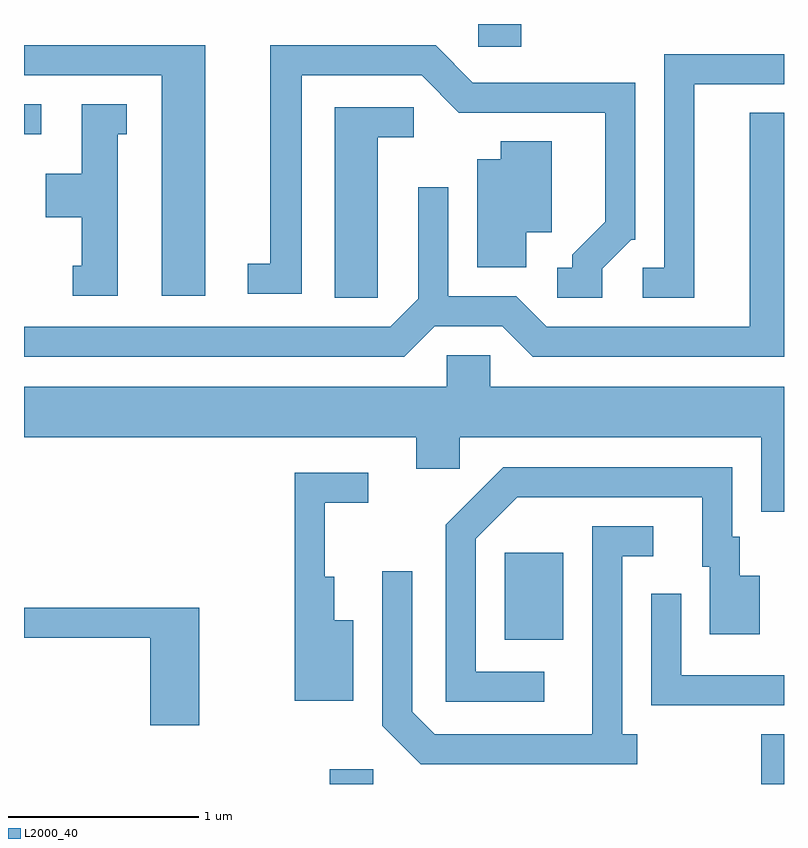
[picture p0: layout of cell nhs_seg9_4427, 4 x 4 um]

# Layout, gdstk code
import gdstk
lib = gdstk.Library(unit=1e-6, precision=1e-09)
def R(c, l, rs):  # rectangles x0, y0, x1, y1
    for r in rs: c.add(gdstk.rectangle(r[:2], r[2:], *l))
def P(c, l, *ps):  # polygons
    for p in ps: c.add(gdstk.Polygon(p, *l))
L2000_40 = (2000, 40)

nhs_seg9_4427 = lib.new_cell('nhs_seg9_4427')
R(nhs_seg9_4427, L2000_40, [(317.221,1994.432,317.449,1994.509), (319.491,1994.432,319.611,1994.694), (318.141,1995.191,318.449,1995.649), (315.611,1997.851,315.703,1998.009), (318.001,1998.311,318.229,1998.432)])
P(nhs_seg9_4427, L2000_40, [(318.654,1997.144),(318.807,1997.296),(318.829,1997.296),(318.829,1998.124),(317.972,1998.124),(317.777,1998.319),(316.906,1998.319),(316.906,1997.169),(316.788,1997.169),(316.788,1997.011),(317.074,1997.011),(317.074,1998.161),(317.704,1998.161),(317.899,1997.966),(318.671,1997.966),(318.671,1997.392),(318.496,1997.217),(318.496,1997.149),(318.418,1997.149),(318.418,1996.991),(318.654,1996.991)],
  [(316.564,1998.319),(315.611,1998.319),(315.611,1998.161),(316.336,1998.161),(316.336,1997.001),(316.564,1997.001)],
  [(319.139,1998.116),(319.611,1998.116),(319.611,1998.274),(318.981,1998.274),(318.981,1997.149),(318.868,1997.149),(318.868,1996.991),(319.139,1996.991)],
  [(316.104,1997.851),(316.153,1997.851),(316.153,1998.009),(315.916,1998.009),(315.916,1997.644),(315.726,1997.644),(315.726,1997.416),(315.916,1997.416),(315.916,1997.159),(315.868,1997.159),(315.868,1997.001),(316.104,1997.001)],
  [(317.474,1997.836),(317.663,1997.836),(317.663,1997.994),(317.246,1997.994),(317.246,1996.991),(317.474,1996.991)],
  [(317.772,1996.841),(318.129,1996.841),(318.289,1996.681),(319.611,1996.681),(319.611,1997.964),(319.431,1997.964),(319.431,1996.839),(318.362,1996.839),(318.202,1996.999),(317.844,1996.999),(317.844,1997.573),(317.686,1997.573),(317.686,1996.987),(317.539,1996.839),(315.611,1996.839),(315.611,1996.681),(317.612,1996.681)],
  [(318.254,1997.336),(318.389,1997.336),(318.389,1997.814),(318.121,1997.814),(318.121,1997.719),(317.996,1997.719),(317.996,1997.151),(318.254,1997.151)],
  [(319.611,1996.524),(318.064,1996.524),(318.064,1996.689),(317.836,1996.689),(317.836,1996.524),(315.611,1996.524),(315.611,1996.256),(317.676,1996.256),(317.676,1996.091),(317.904,1996.091),(317.904,1996.256),(319.491,1996.256),(319.491,1995.866),(319.611,1995.866)],
  [(318.348,1995.024),(317.989,1995.024),(317.989,1995.724),(318.207,1995.941),(319.181,1995.941),(319.181,1995.576),(319.221,1995.576),(319.221,1995.221),(319.484,1995.221),(319.484,1995.529),(319.379,1995.529),(319.379,1995.734),(319.339,1995.734),(319.339,1996.099),(318.134,1996.099),(317.831,1995.797),(317.831,1994.866),(318.348,1994.866)],
  [(317.344,1995.294),(317.244,1995.294),(317.244,1995.524),(317.194,1995.524),(317.194,1995.911),(317.423,1995.911),(317.423,1996.069),(317.036,1996.069),(317.036,1994.871),(317.344,1994.871)],
  [(318.838,1994.694),(318.759,1994.694),(318.759,1995.631),(318.923,1995.631),(318.923,1995.789),(318.601,1995.789),(318.601,1994.694),(317.772,1994.694),(317.654,1994.812),(317.654,1995.553),(317.496,1995.553),(317.496,1994.739),(317.699,1994.536),(318.838,1994.536)],
  [(319.611,1995.004),(319.069,1995.004),(319.069,1995.433),(318.911,1995.433),(318.911,1994.846),(319.611,1994.846)],
  [(316.534,1995.359),(315.611,1995.359),(315.611,1995.201),(316.276,1995.201),(316.276,1994.741),(316.534,1994.741)])

lib.write_gds('nhs_seg9_4427.gds')
